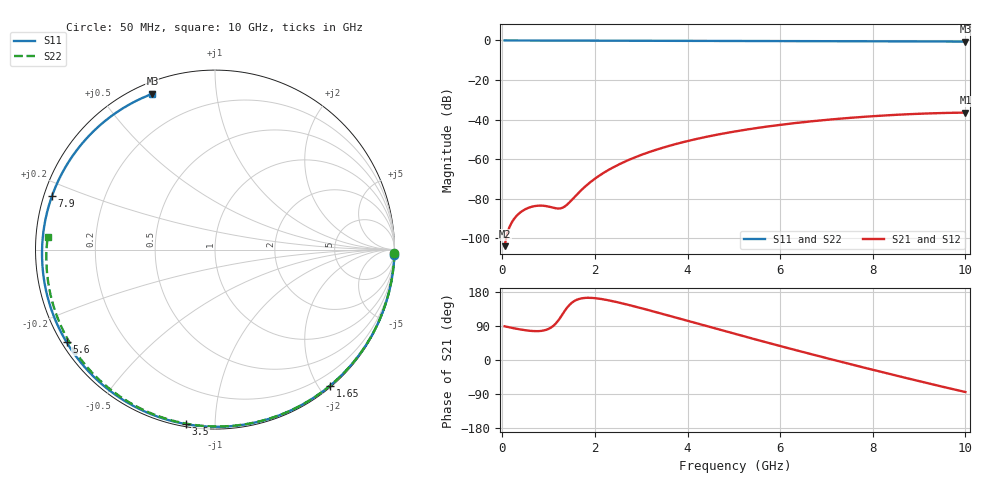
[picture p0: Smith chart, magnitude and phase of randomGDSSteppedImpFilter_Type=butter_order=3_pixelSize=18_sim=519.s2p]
! freq	dB(S11)	phase(S11)	dB(S12)	phase(S12)
!  dB(S21)	phase(S21)	dB(S22)	phase(S22)
!S-par simulation data
#  GHz  S  DB  R 50
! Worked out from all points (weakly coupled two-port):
!   200 points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, 50 MHz to 10 GHz, reference 50 ohm
!   highest |S21| = -36.51 dB at 10 GHz (marker M1); lowest = -104.1 dB at 50 MHz (marker M2)
!   lowest |S11| = -0.6 dB at 10 GHz (marker M3), VSWR 30.02, Z = 2.43 + j33.7 ohm
!   |S11| at or under -10 dB: nowhere
!   |S22| runs from -0.6 to 0.0 dB; largest |S21 - S12| = 0
!   S11 on the Smith chart (normalised r, x): 50 MHz: 0, -73; 1.65 GHz: 0.02, -2.15; 3.5 GHz: 0.01, -0.85; 5.6 GHz: 0.01, -0.29; 7.9 GHz: 0.02, +0.16; 10 GHz: 0.05, +0.67
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0.05  -0.00 -1.6  -104.10 88.9  -104.10 88.9  -0.00 -1.1
0.4  -0.02 -12.4  -86.83 80.3  -86.83 80.3  -0.01 -8.6
0.75  -0.03 -23.1  -83.66 76.1  -83.66 76.1  -0.02 -16.1
1.5  -0.06 -45.5  -80.73 150.9  -80.73 150.9  -0.04 -32.0
1.55  -0.06 -47.0  -79.48 155.3  -79.48 155.3  -0.04 -33.0
1.65  -0.06 -49.9  -77.02 160.8  -77.02 160.8  -0.04 -35.1
1.75  -0.07 -52.7  -74.76 163.4  -74.76 163.4  -0.05 -37.2
2.05  -0.08 -61.3  -69.13 162.5  -69.13 162.5  -0.06 -43.4
2.45  -0.09 -72.3  -63.55 153.5  -63.55 153.5  -0.07 -51.5
2.9  -0.10 -84.2  -58.82 140.0  -58.82 140.0  -0.08 -60.4
3.4  -0.12 -97.0  -54.75 123.6  -54.75 123.6  -0.09 -70.1
3.5  -0.12 -99.5  -54.04 120.3  -54.04 120.3  -0.10 -72.0
4.25  -0.15 -117.6  -49.56 95.0  -49.56 95.0  -0.12 -86.0
5.05  -0.19 -135.9  -45.95 68.1  -45.95 68.1  -0.15 -100.3
5.6  -0.22 -148.0  -43.96 49.9  -43.96 49.9  -0.18 -109.9
6.15  -0.26 -160.0  -42.29 32.0  -42.29 32.0  -0.21 -119.2
6.7  -0.29 -171.9  -40.86 14.5  -40.86 14.5  -0.25 -128.4
7.3  -0.34 175.1  -39.56 -4.3  -39.56 -4.3  -0.29 -138.4
7.9  -0.39 161.9  -38.49 -22.8  -38.49 -22.8  -0.34 -148.3
8.35  -0.43 151.7  -37.83 -36.4  -37.83 -36.4  -0.39 -155.7
9.15  -0.50 133.0  -36.96 -60.2  -36.96 -60.2  -0.47 -169.3
10  -0.58 111.9  -36.51 -84.5  -36.51 -84.5  -0.59 175.6
